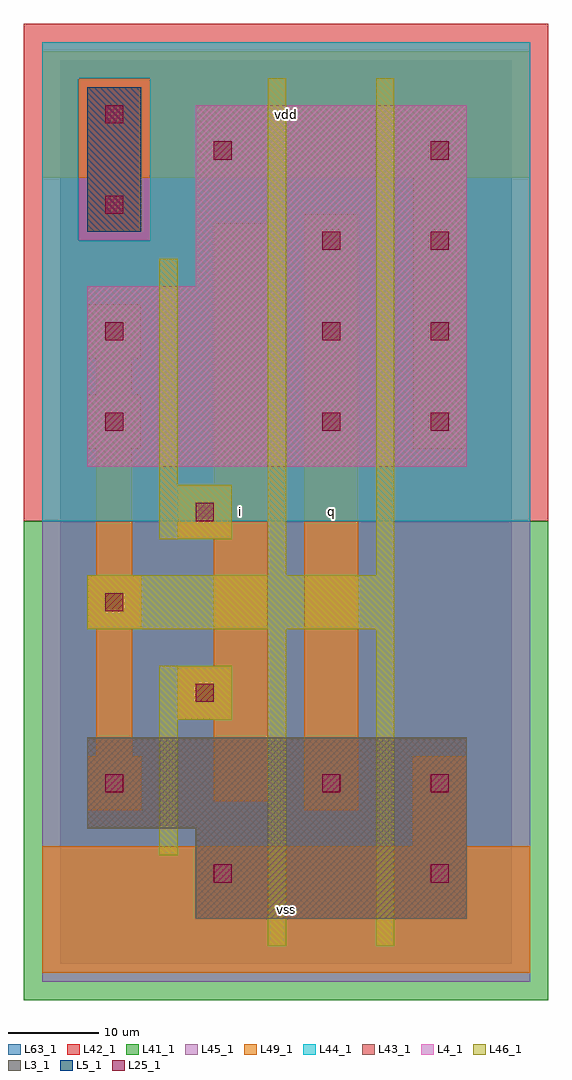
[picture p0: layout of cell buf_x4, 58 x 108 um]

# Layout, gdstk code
import gdstk
lib = gdstk.Library(unit=1e-6, precision=1e-09)
def R(c, l, rs):  # rectangles x0, y0, x1, y1
    for r in rs: c.add(gdstk.rectangle(r[:2], r[2:], *l))
def A(c, l, x, y, w, h, nx, ny, dx, dy):  # array of equal rectangles
    R(c, l, [(x+i*dx, y+j*dy, x+i*dx+w, y+j*dy+h) for i in range(nx) for j in range(ny)])
L3_1 = (3, 1)
L4_1 = (4, 1)
L5_1 = (5, 1)
L25_1 = (25, 1)
L41_1 = (41, 1)
L42_1 = (42, 1)
L43_1 = (43, 1)
L44_1 = (44, 1)
L45_1 = (45, 1)
L46_1 = (46, 1)
L49_1 = (49, 1)
L63_1 = (63, 1)

buf_x4 = lib.new_cell('buf_x4')
R(buf_x4, L3_1, [(15,5,45,15), (3,15,45,25)])
R(buf_x4, L4_1, [(3,55,45,75), (15,75,45,95)])
R(buf_x4, L5_1, [(3,81,9,97)])
A(buf_x4, L25_1, 5, 19, 2, 2, 1, 3, 0, 20)
A(buf_x4, L25_1, 29, 59, 2, 2, 1, 3, 0, 10)
A(buf_x4, L25_1, 41, 59, 2, 2, 1, 4, 0, 10)
R(buf_x4, L25_1, [(17,9,19,11), (41,9,43,11), (29,19,31,21), (41,19,43,21), (15,29,17,31), (15,49,17,51), (5,69,7,71), (5,83,7,85), (17,89,19,91), (5,93,7,95)])
R(buf_x4, L41_1, [(-4,-4,54,49)])
R(buf_x4, L42_1, [(-4,49,54,104)])
R(buf_x4, L43_1, [(15,5,45,15), (3,15,45,25), (3,55,45,75), (15,75,45,95), (3,81,9,97)])
R(buf_x4, L44_1, [(-2,49,52,80), (-2,80,2,98), (10,80,52,98), (-2,98,52,102)])
R(buf_x4, L45_1, [(-2,-2,52,49), (2,80,10,98)])
R(buf_x4, L46_1, [(23,2,25,37), (35,2,37,37), (11,12,13,27), (11,27,19,33), (3,37,37,43), (23,43,25,98), (35,43,37,98), (11,47,19,53), (11,53,13,78)])
A(buf_x4, L49_1, 3, 17, 6, 6, 1, 3, 0, 20)
R(buf_x4, L49_1, [(-2,-1,52,13), (39,13,45,23), (27,17,33,83), (17,18,23,27), (4,23,8,37), (13,27,23,33), (17,33,23,47), (4,43,8,57), (13,47,23,53), (17,53,23,82), (39,57,45,87), (4,63,8,67), (3,67,9,73), (3,81,9,87), (-2,87,52,101)])
R(buf_x4, L63_1, [(0,0,50,100)])
buf_x4.add(gdstk.Label('i', (20,50), layer=49, texttype=1))
buf_x4.add(gdstk.Label('i', (20,50), layer=49, texttype=1))
buf_x4.add(gdstk.Label('vss', (25,6), layer=49, texttype=1))
buf_x4.add(gdstk.Label('vss', (25,6), layer=49, texttype=1))
buf_x4.add(gdstk.Label('q', (30,50), layer=49, texttype=1))
buf_x4.add(gdstk.Label('q', (30,50), layer=49, texttype=1))
buf_x4.add(gdstk.Label('vdd', (25,94), layer=49, texttype=1))
buf_x4.add(gdstk.Label('vdd', (25,94), layer=49, texttype=1))

lib.write_gds('buf_x4.gds')
